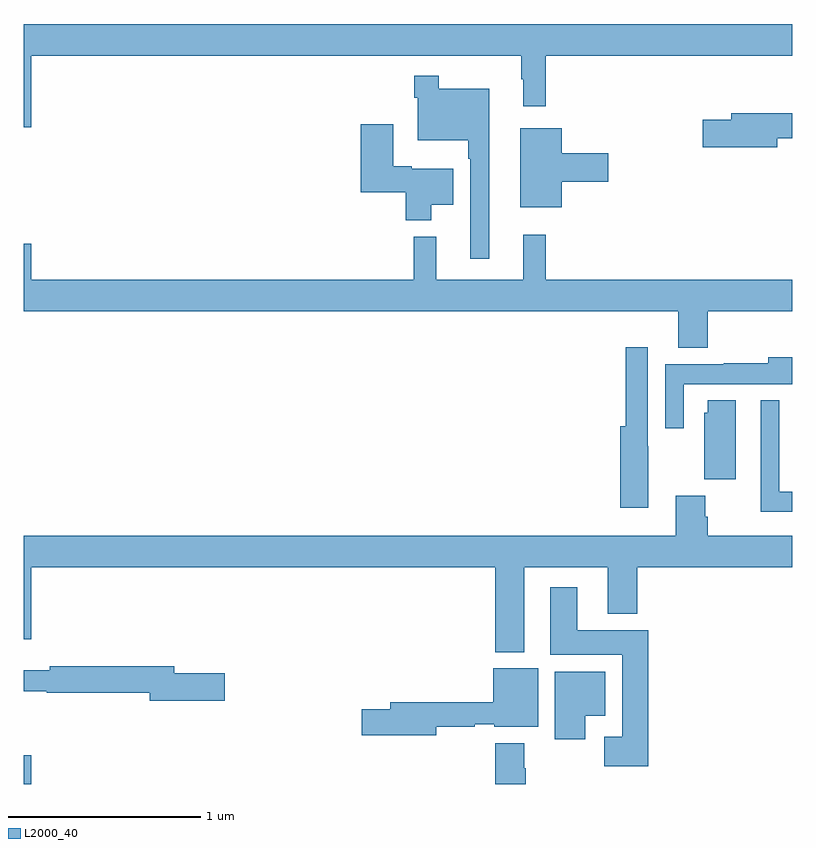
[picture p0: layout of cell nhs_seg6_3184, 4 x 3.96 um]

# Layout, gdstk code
import gdstk
lib = gdstk.Library(unit=1e-6, precision=1e-09)
def R(c, l, rs):  # rectangles x0, y0, x1, y1
    for r in rs: c.add(gdstk.rectangle(r[:2], r[2:], *l))
def P(c, l, *ps):  # polygons
    for p in ps: c.add(gdstk.Polygon(p, *l))
L2000_40 = (2000, 40)

nhs_seg6_3184 = lib.new_cell('nhs_seg6_3184')
R(nhs_seg6_3184, L2000_40, [(297,987.5,297.04,987.649)])
P(nhs_seg6_3184, L2000_40, [(297.04,991.292),(299.589,991.292),(299.589,991.169),(299.6,991.169),(299.6,991.029),(299.717,991.029),(299.717,991.292),(301,991.292),(301,991.456),(297,991.456),(297,990.918),(297.04,990.918)],
  [(299.422,991.12),(299.161,991.12),(299.161,991.186),(299.032,991.186),(299.032,991.073),(299.052,991.073),(299.052,990.851),(299.313,990.851),(299.313,990.755),(299.325,990.755),(299.325,990.234),(299.422,990.234)],
  [(300.922,990.862),(301,990.862),(301,990.991),(300.683,990.991),(300.683,990.957),(300.534,990.957),(300.534,990.815),(300.922,990.815)],
  [(299.122,990.515),(299.236,990.515),(299.236,990.703),(299.02,990.703),(299.02,990.716),(298.924,990.716),(298.924,990.934),(298.754,990.934),(298.754,990.581),(298.988,990.581),(298.988,990.434),(299.122,990.434)],
  [(299.8,990.635),(300.043,990.635),(300.043,990.782),(299.8,990.782),(299.8,990.913),(299.585,990.913),(299.585,990.503),(299.8,990.503)],
  [(300.56,989.96),(301,989.96),(301,990.124),(299.717,990.124),(299.717,990.358),(299.6,990.358),(299.6,990.124),(299.147,990.124),(299.147,990.349),(299.029,990.349),(299.029,990.124),(297.04,990.124),(297.04,990.313),(297,990.313),(297,989.96),(300.407,989.96),(300.407,989.771),(300.56,989.771)],
  [(300.25,989.258),(300.249,989.258),(300.249,989.773),(300.133,989.773),(300.133,989.362),(300.104,989.362),(300.104,988.938),(300.25,988.938)],
  [(300.435,989.582),(301,989.582),(301,989.722),(300.875,989.722),(300.875,989.689),(300.643,989.689),(300.643,989.686),(300.339,989.686),(300.339,989.352),(300.435,989.352)],
  [(300.706,989.497),(300.56,989.497),(300.56,989.433),(300.542,989.433),(300.542,989.086),(300.706,989.086)],
  [(301,989.02),(300.933,989.02),(300.933,989.497),(300.836,989.497),(300.836,988.916),(301,988.916)],
  [(300.395,989.001),(300.395,988.792),(297,988.792),(297,988.254),(297.04,988.254),(297.04,988.628),(299.453,988.628),(299.453,988.187),(299.605,988.187),(299.605,988.628),(300.041,988.628),(300.041,988.385),(300.194,988.385),(300.194,988.628),(301,988.628),(301,988.792),(300.56,988.792),(300.56,988.892),(300.547,988.892),(300.547,989.001)],
  [(300.251,988.3),(299.881,988.3),(299.881,988.525),(299.741,988.525),(299.741,988.172),(300.116,988.172),(300.116,987.745),(300.021,987.745),(300.021,987.593),(300.251,987.593)],
  [(298.045,988.076),(297.784,988.076),(297.784,988.112),(297.136,988.112),(297.136,988.093),(297,988.093),(297,987.984),(297.12,987.984),(297.12,987.976),(297.656,987.976),(297.656,987.934),(298.045,987.934)],
  [(299.146,987.798),(299.348,987.798),(299.348,987.81),(299.448,987.81),(299.448,987.797),(299.677,987.797),(299.677,988.102),(299.444,988.102),(299.444,987.926),(298.907,987.926),(298.907,987.89),(298.758,987.89),(298.758,987.755),(299.146,987.755)],
  [(299.923,987.854),(300.028,987.854),(300.028,988.084),(299.765,988.084),(299.765,987.732),(299.923,987.732)],
  [(299.613,987.581),(299.605,987.581),(299.605,987.712),(299.453,987.712),(299.453,987.5),(299.613,987.5)])

lib.write_gds('nhs_seg6_3184.gds')
